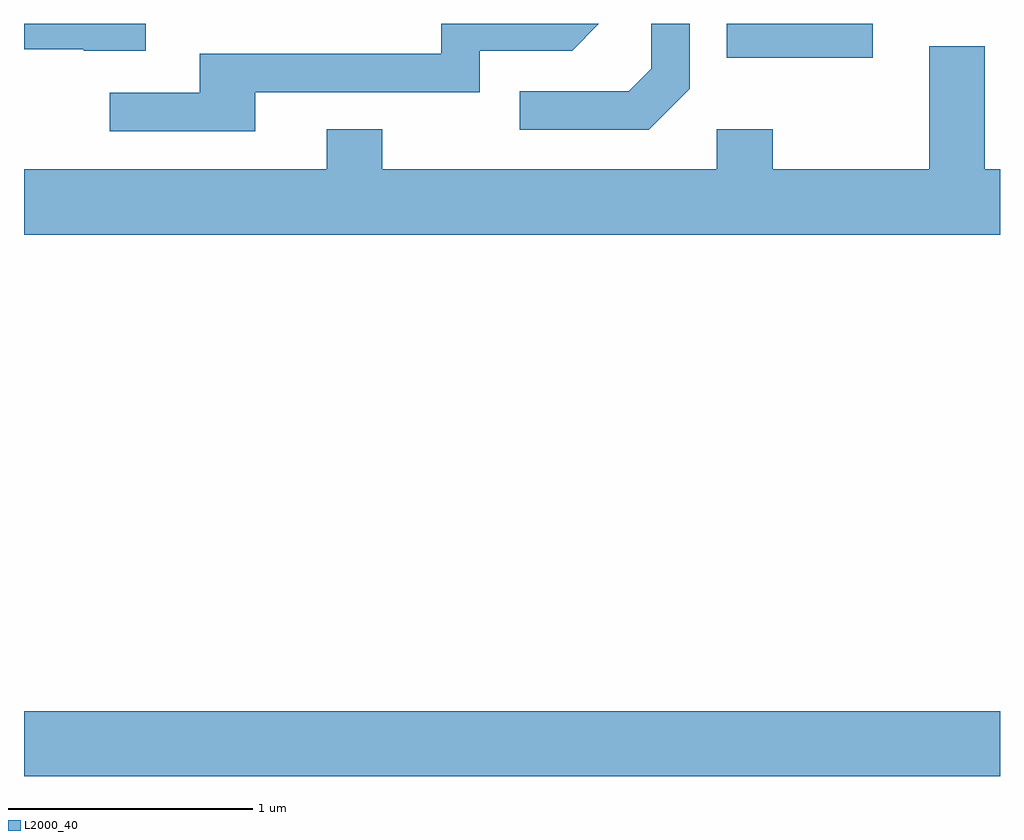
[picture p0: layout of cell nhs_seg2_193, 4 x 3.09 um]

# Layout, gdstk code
import gdstk
lib = gdstk.Library(unit=1e-6, precision=1e-09)
def R(c, l, rs):  # rectangles x0, y0, x1, y1
    for r in rs: c.add(gdstk.rectangle(r[:2], r[2:], *l))
def P(c, l, *ps):  # polygons
    for p in ps: c.add(gdstk.Polygon(p, *l))
L2000_40 = (2000, 40)

nhs_seg2_193 = lib.new_cell('nhs_seg2_193')
R(nhs_seg2_193, L2000_40, [(189.611,1092.716,193.611,1092.984), (192.491,1095.661,193.089,1095.802)])
P(nhs_seg2_193, L2000_40, [(190.109,1095.802),(189.611,1095.802),(189.611,1095.696),(189.855,1095.696),(189.855,1095.691),(190.109,1095.691)],
  [(192.339,1095.534),(192.339,1095.802),(192.181,1095.802),(192.181,1095.617),(192.089,1095.524),(191.643,1095.524),(191.643,1095.366),(192.172,1095.366)],
  [(190.559,1095.521),(191.479,1095.521),(191.479,1095.691),(191.857,1095.691),(191.967,1095.802),(191.321,1095.802),(191.321,1095.679),(190.331,1095.679),(190.331,1095.519),(189.963,1095.519),(189.963,1095.361),(190.559,1095.361)],
  [(193.611,1095.204),(193.549,1095.204),(193.549,1095.709),(193.321,1095.709),(193.321,1095.204),(192.679,1095.204),(192.679,1095.369),(192.451,1095.369),(192.451,1095.204),(191.079,1095.204),(191.079,1095.369),(190.851,1095.369),(190.851,1095.204),(189.611,1095.204),(189.611,1094.936),(193.611,1094.936)])

lib.write_gds('nhs_seg2_193.gds')
